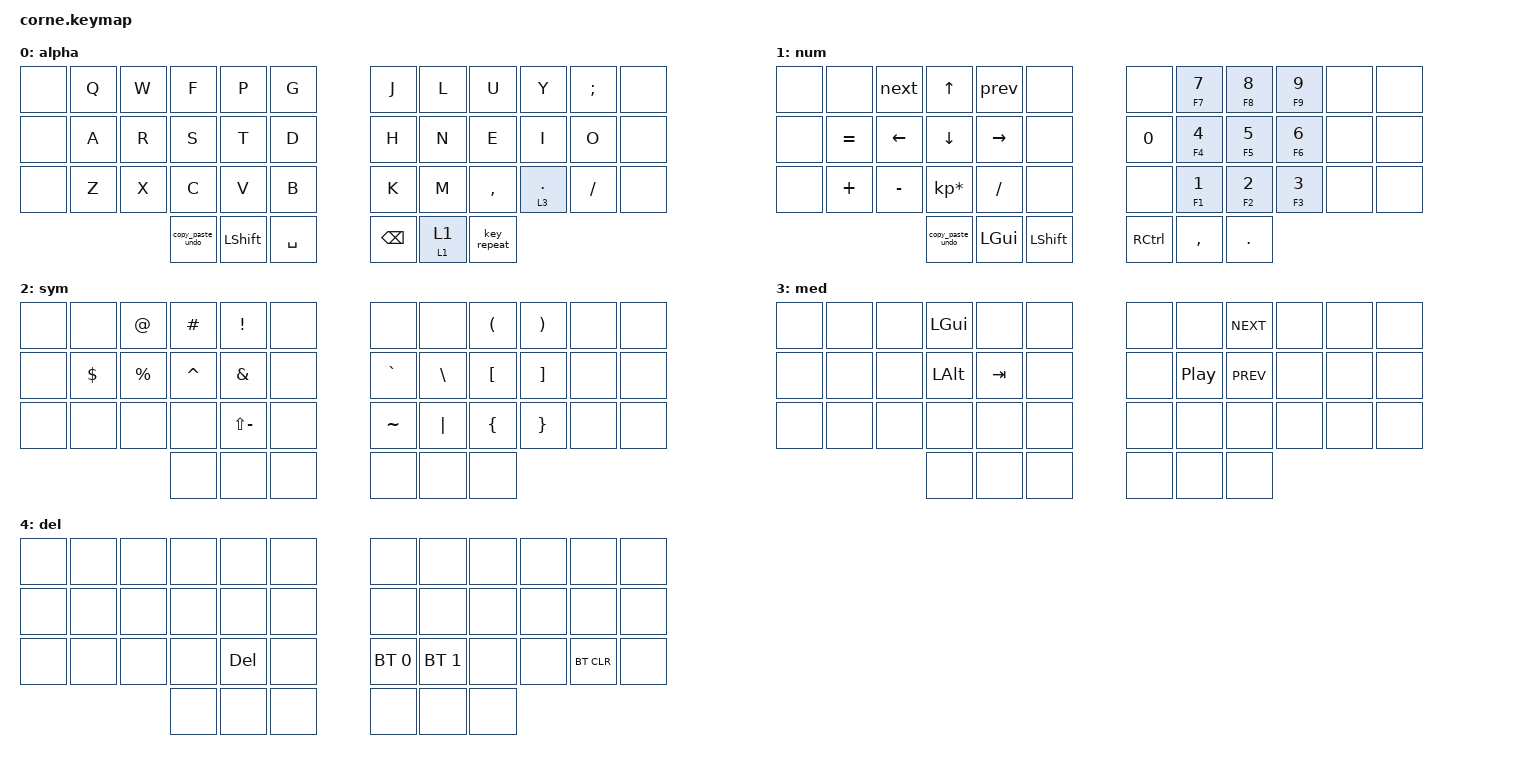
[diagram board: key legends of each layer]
/*
 * Copyright (c) 2020 The ZMK Contributors
 *
 * SPDX-License-Identifier: MIT
 */

#include <behaviors.dtsi>
#include <dt-bindings/zmk/keys.h>
#include <dt-bindings/zmk/bt.h>

/ {
    combos {
        compatible = "zmk,combos";

        layer0 {
            bindings = <&to 0>;
            key-positions = <38 39>;
            layers = <1>;
        };

        tab {
            bindings = <&kp TAB>;
            key-positions = <14 13>;
            layers = <0 1>;
        };

        esc {
            bindings = <&kp ESC>;
            key-positions = <1 2>;
            layers = <0 1>;
        };

        enter {
            bindings = <&kp RET>;
            key-positions = <32 33>;
            layers = <0 1>;
        };

        apos {
            bindings = <&kp APOS>;
            key-positions = <21 22>;
            layers = <0 1>;
        };

        layer2 {
            bindings = <&mo 2>;
            key-positions = <15 14>;
        };

        layer22 {
            bindings = <&mo 2>;
            key-positions = <20 21>;
        };

        lctrl {
            bindings = <&kp LCTRL>;
            key-positions = <15 16>;
        };

        rctrl {
            bindings = <&kp RCTRL>;
            key-positions = <19 20>;
        };

        new_combo {
            bindings = <&mo 4>;
            key-positions = <27 26>;
        };
    };

    macros {
        undo: undo {
            compatible = "zmk,behavior-macro";
            label = "UNDO";
            #binding-cells = <0>;
            bindings =
                <&macro_press>,
                <&kp LCTRL>,
                <&macro_tap>,
                <&kp Z>,
                <&macro_release>,
                <&kp LCTRL>;
        };
        copy: copy {
            compatible = "zmk,behavior-macro";
            label = "COPY";
            #binding-cells = <0>;
            bindings =
                <&macro_press>,
                <&kp LCTRL>,
                <&macro_tap>,
                <&kp C>,
                <&macro_release>,
                <&kp LCTRL>;
        };
        paste: paste {
            compatible = "zmk,behavior-macro";
            label = "PASTE";
            #binding-cells = <0>;
            bindings =
                <&macro_press>,
                <&kp LCTRL>,
                <&macro_tap>,
                <&kp V>,
                <&macro_release>,
                <&kp LCTRL>;
        };
        next: next {
            compatible = "zmk,behavior-macro";
            label = "NEXT";
            #binding-cells = <0>;
            bindings =
                <&macro_press>,
                <&kp LCTRL>,
                <&macro_tap>,
                <&kp PG_UP>,
                <&macro_release>,
                <&kp LCTRL>;
        };
        prev: prev {
            compatible = "zmk,behavior-macro";
            label = "PREV";
            #binding-cells = <0>;
            bindings =
                <&macro_press>,
                <&kp LCTRL>,
                <&macro_tap>,
                <&kp PG_DN>,
                <&macro_release>,
                <&kp LCTRL>;
        };
    };

    behaviors {
        esc_undo: esc_undo {
            compatible = "zmk,behavior-tap-dance";
            label = "ESC_UNDO";
            #binding-cells = <0>;
            bindings =
                <&kp ESC>,
                <&undo>;
        };
        copy_paste: copy_paste {
            compatible = "zmk,behavior-tap-dance";
            label = "COPY_PASTE";
            #binding-cells = <0>;
            bindings =
                <&copy>,
                <&paste>;
        };
        copy_paste_undo: copy_paste_undo {
            compatible = "zmk,behavior-tap-dance";
            label = "COPY_PASTE_UNDO";
            #binding-cells = <0>;
            bindings =
                <&copy>,
                <&paste>,
                <&undo>;
        };
        hold_tap: hold_tap {
            compatible = "zmk,behavior-hold-tap";
            label = "HOLD_TAP";
            bindings =
                <&kp>,
                <&kp>;

            #binding-cells = <2>;
            flavor = "tap-preferred";
            tapping-term-ms = <200>;
        };
        tap_layer: tap_layer {
            compatible = "zmk,behavior-hold-tap";
            label = "TAP_LAYER";
            bindings =
                <&mo>,
                <&kp>;

            #binding-cells = <2>;
            flavor = "tap-preferred";
            tapping-term-ms = <200>;
        };
        mo_tog: mo_tog {
            compatible = "zmk,behavior-hold-tap";
            label = "MO_TOG";
            bindings =
                <&mo>,
                <&tog>;

            #binding-cells = <2>;
            tapping-term-ms = <200>;
            flavor = "hold-preferred";
        };
    };

    keymap {
        compatible = "zmk,keymap";

        alpha {
            // -----------------------------------------------------------------------------------------
            // |  TAB |  Q  |  W  |  E  |  R  |  T  |   |  Y  |  U   |  I  |  O  |  P  | BKSP |
            // | CTRL |  A  |  S  |  D  |  F  |  G  |   |  H  |  J   |  K  |  L  |  ;  |  '   |
            // | SHFT |  Z  |  X  |  C  |  V  |  B  |   |  N  |  M   |  ,  |  .  |  /  | ESC  |
            //                    | GUI | LWR | SPC |   | ENT | RSE  | ALT |

            bindings = <
&none  &kp Q  &kp W             &kp F      &kp P      &kp G       &kp J        &kp L        &kp U             &kp Y  &kp SEMI  &none
&none  &kp A  &kp R             &kp S      &kp T      &kp D       &kp H        &kp N        &kp E             &kp I     &kp O  &none
&none  &kp Z  &kp X             &kp C      &kp V      &kp B       &kp K        &kp M    &kp COMMA  &tap_layer 3 DOT  &kp FSLH  &none
                     &copy_paste_undo  &kp LSHFT  &kp SPACE    &kp BSPC  &mo_tog 1 1  &key_repeat
            >;

            label = "alpha";
        };

        num {
            // -----------------------------------------------------------------------------------------
            // |  TAB |  1  |  2  |  3  |  4  |  5  |   |  6  |  7  |  8  |  9  |  0  | BKSP |
            // | BTCLR| BT1 | BT2 | BT3 | BT4 | BT5 |   | LFT | DWN |  UP | RGT |     |      |
            // | SHFT |     |     |     |     |     |   |     |     |     |     |     |      |
            //                    | GUI |     | SPC |   | ENT |     | ALT |

            bindings = <
&none      &none      &next      &kp UP_ARROW      &prev      &none        &none  &hold_tap F7 N7  &hold_tap F8 N8  &hold_tap F9 N9  &none  &none
&none  &kp EQUAL   &kp LEFT          &kp DOWN  &kp RIGHT      &none       &kp N0  &hold_tap F4 N4  &hold_tap F5 N5  &hold_tap F6 N6  &none  &none
&none   &kp PLUS  &kp MINUS   &kp KP_MULTIPLY  &kp SLASH      &none        &none  &hold_tap F1 N1  &hold_tap F2 N2  &hold_tap F3 N3  &none  &none
                             &copy_paste_undo   &kp LGUI  &kp LSHFT    &kp RCTRL        &kp COMMA          &kp DOT
            >;

            label = "num";
        };

        sym {
            // -----------------------------------------------------------------------------------------
            // |  TAB |  !  |  @  |  #  |  $  |  %  |   |  ^  |  &  |  *  |  (  |  )  | BKSP |
            // | CTRL |     |     |     |     |     |   |  -  |  =  |  [  |  ]  |  \  |  `   |
            // | SHFT |     |     |     |     |     |   |  _  |  +  |  {  |  }  | "|" |  ~   |
            //                    | GUI |     | SPC |   | ENT |     | ALT |

            bindings = <
&none     &none     &kp AT   &kp HASH       &kp EXCL  &none        &none     &none  &kp LPAR  &kp RPAR  &none  &none
&none  &kp DLLR  &kp PRCNT  &kp CARET       &kp AMPS  &none    &kp GRAVE  &kp BSLH  &kp LBKT  &kp RBKT  &none  &none
&none     &none      &none      &none  &kp LS(MINUS)  &none    &kp TILDE  &kp PIPE  &kp LBRC  &kp RBRC  &none  &none
                                &none          &none  &none        &none     &none     &none
            >;

            label = "sym";
        };

        med {
            bindings = <
&none  &none  &none  &kp LGUI    &none  &none    &none     &none  &kp C_NEXT  &none  &none  &none
&none  &none  &none  &kp LALT  &kp TAB  &none    &none  &kp C_PP  &kp K_PREV  &none  &none  &none
&none  &none  &none     &none    &none  &none    &none     &none       &none  &none  &none  &none
                        &none    &none  &none    &none     &none       &none
            >;
        };

        del {
            bindings = <
&none  &none  &none  &none    &none  &none           &none         &none  &none  &none       &none  &none
&none  &none  &none  &none    &none  &none           &none         &none  &none  &none       &none  &none
&none  &none  &none  &none  &kp DEL  &none    &bt BT_SEL 0  &bt BT_SEL 1  &none  &none  &bt BT_CLR  &none
                     &none    &none  &none           &none         &none  &none
            >;
        };
    };
};
